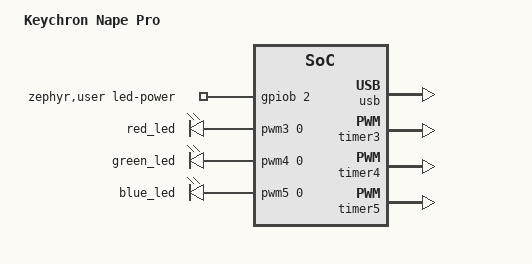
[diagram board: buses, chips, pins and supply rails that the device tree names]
/dts-v1/;
#include <realtek/rtl87x2g.dtsi>
#include <zephyr/dt-bindings/pwm/pwm.h>
#include <zephyr/dt-bindings/gpio/gpio.h>
/ {
    zephyr,user {
        /* Stock LED init/output path: GPIOB bit 2, physical pad P3_5. */
        led-power-gpios = <&gpiob 2 GPIO_ACTIVE_HIGH>;
    };
    leds {
        compatible = "pwm-leds";
        red_led: red { pwms = <&pwm3 0 250000 PWM_POLARITY_INVERTED>; };
        green_led: green { pwms = <&pwm4 0 250000 PWM_POLARITY_INVERTED>; };
        blue_led: blue { pwms = <&pwm5 0 250000 PWM_POLARITY_INVERTED>; };
    };
    model = "Keychron Nape Pro";
    compatible = "keychron,nape-pro";
    chosen {
        zephyr,sram = &ram_data;
        zephyr,flash = &flash;
        zephyr,itcm = &ram_code;
        zephyr,code-partition = &app_partition;
        zephyr,flash-controller = &fmc;
    };
};
&cpu { clock-frequency = <40000000>; };
&usb { status = "okay"; };
&gpiob { status = "okay"; };
&gpioa { status = "okay"; };
&pinctrl {
    led_pwm3: led-pwm3 {
        group1 { psels = <RTL87X2G_PSEL(TIMER_PWM3, P0_4, DIR_OUT, DRV_LOW, PULL_DOWN)>; };
    };
    led_pwm4: led-pwm4 {
        group1 { psels = <RTL87X2G_PSEL(TIMER_PWM4, P1_0, DIR_OUT, DRV_LOW, PULL_DOWN)>; };
    };
    led_pwm5: led-pwm5 {
        group1 { psels = <RTL87X2G_PSEL(TIMER_PWM5, P1_1, DIR_OUT, DRV_LOW, PULL_DOWN)>; };
    };
};
&timer3 {
    status = "okay";
    prescaler = <1>;
    pwm3: pwm3 {
        status = "okay";
        pinctrl-0 = <&led_pwm3>;
        pinctrl-names = "default";
    };
};
&timer4 {
    status = "okay";
    prescaler = <1>;
    pwm4: pwm4 {
        status = "okay";
        pinctrl-0 = <&led_pwm4>;
        pinctrl-names = "default";
    };
};
&timer5 {
    status = "okay";
    prescaler = <1>;
    pwm5: pwm5 {
        status = "okay";
        pinctrl-0 = <&led_pwm5>;
        pinctrl-names = "default";
    };
};
&flash {
    partitions {
        compatible = "fixed-partitions";
        #address-cells = <1>;
        #size-cells = <1>;
        app_partition: partition@2d000 { label = "application"; reg = <0x2d000 0x5c000>; };
        journal: partition@89000 { label = "migration"; reg = <0x89000 0x1000>; };
        staging: partition@9c000 { label = "ota"; reg = <0x9c000 0x59000>; };
        userdata: partition@f5000 { label = "userdata"; reg = <0xf5000 0xb000>; };
    };
};
